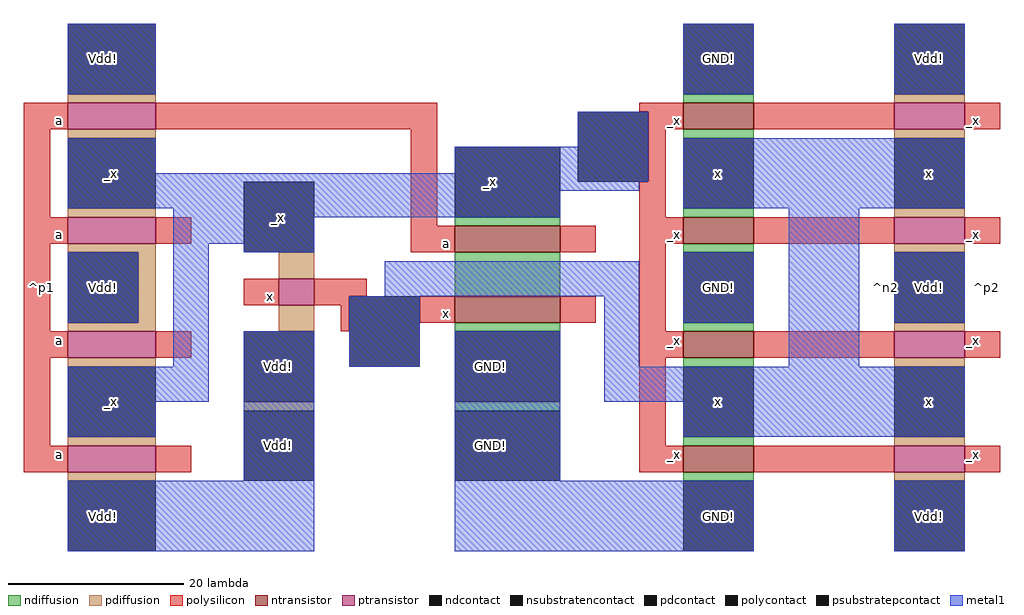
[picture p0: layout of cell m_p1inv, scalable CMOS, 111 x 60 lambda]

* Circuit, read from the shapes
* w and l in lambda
.subckt m_p1inv GND! Vdd! _x a x
M1 n1 x GND! GND! nfet w=12 l=3
M2 _x a n1 GND! nfet w=12 l=3
M3 x _x GND! GND! nfet w=8 l=3 m=4
M4 _x a Vdd! Vdd! pfet w=10 l=3 m=4
M5 _x x Vdd! Vdd! pfet w=4 l=3
M6 x _x Vdd! Vdd! pfet w=8 l=3 m=4
.ends

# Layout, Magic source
magic
tech scmos
<< ndiffusion >>
rect -52 33 -44 34
rect -78 19 -66 20
rect -52 29 -44 30
rect -52 20 -44 21
rect -78 11 -66 16
rect -78 7 -66 8
rect -78 -2 -66 -1
rect -52 16 -44 17
rect -52 7 -44 8
rect -52 3 -44 4
rect -52 -6 -44 -5
rect -52 -10 -44 -9
<< pdiffusion >>
rect -122 33 -112 34
rect -28 33 -20 34
rect -122 29 -112 30
rect -122 20 -112 21
rect -122 16 -112 17
rect -28 29 -20 30
rect -28 20 -20 21
rect -114 8 -112 16
rect -98 13 -94 16
rect -122 7 -112 8
rect -98 7 -94 10
rect -122 3 -112 4
rect -122 -6 -112 -5
rect -102 -2 -94 -1
rect -122 -10 -112 -9
rect -28 16 -20 17
rect -28 7 -20 8
rect -28 3 -20 4
rect -28 -6 -20 -5
rect -28 -10 -20 -9
<< ntransistor >>
rect -52 30 -44 33
rect -78 16 -66 19
rect -52 17 -44 20
rect -78 8 -66 11
rect -52 4 -44 7
rect -52 -9 -44 -6
<< ptransistor >>
rect -122 30 -112 33
rect -122 17 -112 20
rect -28 30 -20 33
rect -28 17 -20 20
rect -98 10 -94 13
rect -122 4 -112 7
rect -122 -9 -112 -6
rect -28 4 -20 7
rect -28 -9 -20 -6
<< polysilicon >>
rect -127 30 -122 33
rect -112 30 -80 33
rect -57 32 -52 33
rect -127 20 -124 30
rect -127 17 -122 20
rect -112 17 -108 20
rect -127 7 -124 17
rect -83 19 -80 30
rect -56 30 -52 32
rect -44 30 -28 33
rect -20 30 -16 33
rect -56 24 -54 30
rect -57 20 -54 24
rect -83 16 -78 19
rect -66 16 -62 19
rect -57 17 -52 20
rect -44 17 -28 20
rect -20 17 -16 20
rect -102 10 -98 13
rect -94 11 -88 13
rect -94 10 -90 11
rect -91 7 -90 10
rect -127 4 -122 7
rect -112 4 -108 7
rect -127 -6 -124 4
rect -82 8 -78 11
rect -66 8 -62 11
rect -127 -9 -122 -6
rect -112 -9 -108 -6
rect -57 7 -54 17
rect -57 4 -52 7
rect -44 4 -28 7
rect -20 4 -16 7
rect -57 -6 -54 4
rect -57 -9 -52 -6
rect -44 -9 -28 -6
rect -20 -9 -16 -6
<< ndcontact >>
rect -52 34 -44 42
rect -78 20 -66 28
rect -52 21 -44 29
rect -78 -1 -66 7
rect -52 8 -44 16
rect -52 -5 -44 3
rect -52 -18 -44 -10
<< pdcontact >>
rect -122 34 -112 42
rect -28 34 -20 42
rect -122 21 -112 29
rect -102 16 -94 24
rect -28 21 -20 29
rect -122 8 -114 16
rect -122 -5 -112 3
rect -102 -1 -94 7
rect -28 8 -20 16
rect -28 -5 -20 3
rect -122 -18 -112 -10
rect -28 -18 -20 -10
<< psubstratepcontact >>
rect -78 -10 -66 -2
<< nsubstratencontact >>
rect -102 -10 -94 -2
<< polycontact >>
rect -64 24 -56 32
rect -90 3 -82 11
<< metal1 >>
rect -122 34 -112 42
rect -52 34 -44 42
rect -28 34 -20 42
rect -122 25 -112 29
rect -64 28 -56 32
rect -78 25 -56 28
rect -122 24 -56 25
rect -122 23 -57 24
rect -122 21 -66 23
rect -52 21 -20 29
rect -110 20 -66 21
rect -110 17 -94 20
rect -122 8 -114 16
rect -110 3 -106 17
rect -102 16 -94 17
rect -86 11 -57 15
rect -122 -1 -106 3
rect -122 -5 -112 -1
rect -102 -10 -94 7
rect -90 3 -82 11
rect -122 -18 -94 -10
rect -78 -10 -66 7
rect -61 3 -57 11
rect -52 8 -44 16
rect -40 3 -32 21
rect -28 8 -20 16
rect -61 -1 -20 3
rect -52 -5 -20 -1
rect -78 -18 -44 -10
rect -28 -18 -20 -10
<< labels >>
rlabel metal1 -74 -6 -74 -6 1 GND!
rlabel metal1 -74 3 -74 3 1 GND!
rlabel metal1 -98 -6 -98 -6 1 Vdd!
rlabel metal1 -98 3 -98 3 1 Vdd!
rlabel polysilicon -99 11 -99 11 1 x
rlabel metal1 -74 24 -74 24 1 _x
rlabel polysilicon -79 9 -79 9 1 x
rlabel polysilicon -79 17 -79 17 1 a
rlabel polysilicon -123 -7 -123 -7 5 a
rlabel polysilicon -123 6 -123 6 5 a
rlabel metal1 -118 -14 -118 -14 1 Vdd!
rlabel polysilicon -123 31 -123 31 1 a
rlabel polysilicon -123 18 -123 18 1 a
rlabel metal1 -118 38 -118 38 5 Vdd!
rlabel metal1 -118 12 -118 12 1 Vdd!
rlabel metal1 -117 25 -117 25 1 _x
rlabel metal1 -117 -1 -117 -1 5 _x
rlabel pdcontact -24 -1 -24 -1 5 x
rlabel pdcontact -24 -14 -24 -14 1 Vdd!
rlabel polysilicon -19 -7 -19 -7 5 _x
rlabel polysilicon -19 6 -19 6 5 _x
rlabel polysilicon -53 -7 -53 -7 3 _x
rlabel polysilicon -53 6 -53 6 3 _x
rlabel ndcontact -48 -14 -48 -14 1 GND!
rlabel ndcontact -48 -1 -48 -1 5 x
rlabel pdcontact -24 12 -24 12 1 Vdd!
rlabel pdcontact -24 25 -24 25 1 x
rlabel pdcontact -24 38 -24 38 5 Vdd!
rlabel polysilicon -19 31 -19 31 1 _x
rlabel polysilicon -19 18 -19 18 1 _x
rlabel polysilicon -53 31 -53 31 3 _x
rlabel polysilicon -53 18 -53 18 3 _x
rlabel ndcontact -48 38 -48 38 5 GND!
rlabel ndcontact -48 12 -48 12 1 GND!
rlabel ndcontact -48 25 -48 25 1 x
rlabel metal1 -98 20 -98 20 1 _x
rlabel space -128 -18 -122 42 7 ^p1
rlabel space -20 -18 -15 42 3 ^p2
rlabel space -44 -19 -14 43 3 ^n2
<< end >>
